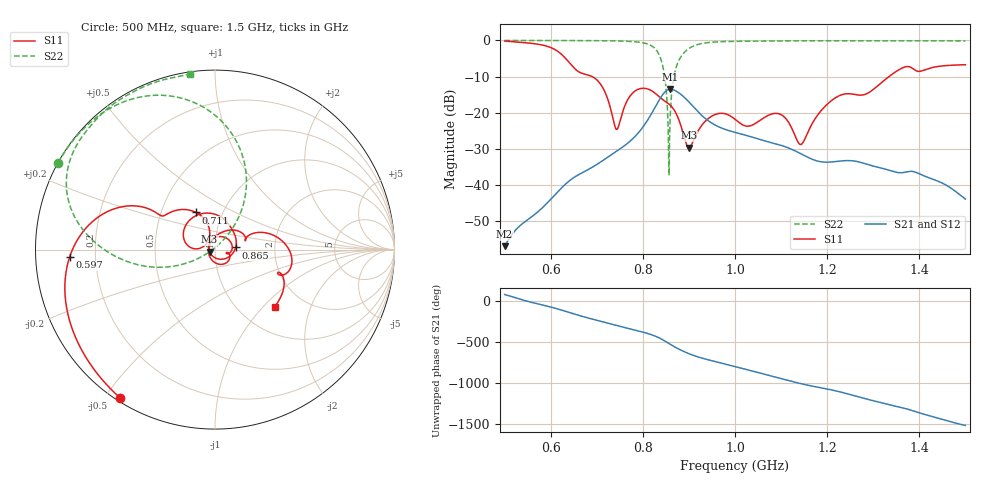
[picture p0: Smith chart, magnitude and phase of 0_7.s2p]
! TOUCHSTONE file generated by CST MICROWAVE STUDIO
! Date and time: Sat Oct 24 11:11:59 2020
! Project name: Scenario_1_Circular_Tissue_in_Line.cst
! Parameters = {L_HA=400; MT=2.54; Rad_Dielectric=30; Rad_Lower=7.3; Rad_Upper=30; a_HA=580; a_WG=246; b_HA=500; b_WG=121; c_HA=0; c_WG=187; d_feed=85; dx1=276.92; h_feed=15; h_lower=18; h_upper=40}
! Header version: 2018
! Port assignment regex: !\s*Touchstone port\s*([0-9]+)\s*=\s*(CST MWS port|CST DS port)\s*([0-9]+|Zmin|Zmax)\s*\(\"(.*)\"\)(\s*mode\s*([0-9]+))?.*
! Touchstone port assignment:
! Touchstone port 1 = CST MWS port 1 ("")
! Touchstone port 2 = CST MWS port 2 ("")
# GHz S DB R 50
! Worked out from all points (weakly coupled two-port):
!   1003 points, 500 MHz to 1.5 GHz, reference 50 ohm
!   highest |S21| = -13.54 dB at 860 MHz (marker M1); lowest = -57.0 dB at 500 MHz (marker M2)
!   lowest |S11| = -29.7 dB at 900 MHz (marker M3), VSWR 1.07, Z = 47 - j1.15 ohm
!   |S11| at or under -10 dB: 689.7 MHz to 1.334 GHz (644.5 MHz wide, 63.7 % of centre)
!   |S22| runs from -37.4 to 0.0 dB; largest |S21 - S12| = 1.9e-05
!   S11 on the Smith chart (normalised r, x): 500 MHz: 0.01, -0.55; 597 MHz: 0.10, -0.03; 711 MHz: 0.75, +0.33; 865 MHz: 1.26, +0.03; 1.5 GHz: 1.44, -1.17
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0.5  -0.17 -122.6  -57.00 77.7  -57.00 77.7  -0.01 151.1
0.597  -1.81 -177.0  -44.44 -70.5  -44.44 -70.5  -0.02 144.3
0.629  -4.53 157.0  -40.17 -120.8  -40.17 -120.8  -0.02 141.8
0.667  -9.07 147.7  -36.75 173.7  -36.75 173.7  -0.04 138.4
0.711  -12.65 117.2  -33.46 107.6  -33.46 107.6  -0.08 133.5
0.743  -24.66 142.3  -30.70 60.2  -30.70 60.2  -0.13 128.7
0.782  -14.12 153.8  -26.75 5.4  -26.75 5.4  -0.35 119.6
0.834  -15.44 68.5  -16.85 -87.6  -16.85 -87.6  -3.63 82.2
0.846  -16.67 49.0  -14.55 -123.8  -14.55 -123.8  -8.92 61.5
0.855  -17.46 31.3  -13.66 -154.7  -13.66 -154.7  -24.87 49.9
0.86  -18.01 19.4  -13.54 -171.8  -13.54 -171.8  -19.33 -152.3
0.865  -18.73 5.9  -13.64 171.6  -13.64 171.6  -11.92 -158.4
0.877  -21.61 -33.0  -14.43 135.2  -14.43 135.2  -5.85 -173.3
0.9  -29.70 -158.0  -17.04 76.0  -17.04 76.0  -2.24 169.3
0.949  -21.03 48.1  -22.86 -9.1  -22.86 -9.1  -0.51 149.6
1  -21.84 -15.3  -25.46 -80.9  -25.46 -80.9  -0.26 140.1
1.097  -20.39 -54.2  -28.94 136.8  -28.94 136.8  -0.13 130.1
1.142  -28.84 176.5  -31.33 71.3  -31.33 71.3  -0.10 126.2
1.167  -23.16 91.5  -32.89 40.6  -32.89 40.6  -0.09 124.2
1.218  -15.89 41.6  -33.56 -16.8  -33.56 -16.8  -0.09 120.2
1.334  -10.02 16.3  -35.96 173.4  -35.96 173.4  -0.08 111.5
1.5  -6.73 -44.0  -43.95 -80.1  -43.93 -80.0  -0.12 98.0
